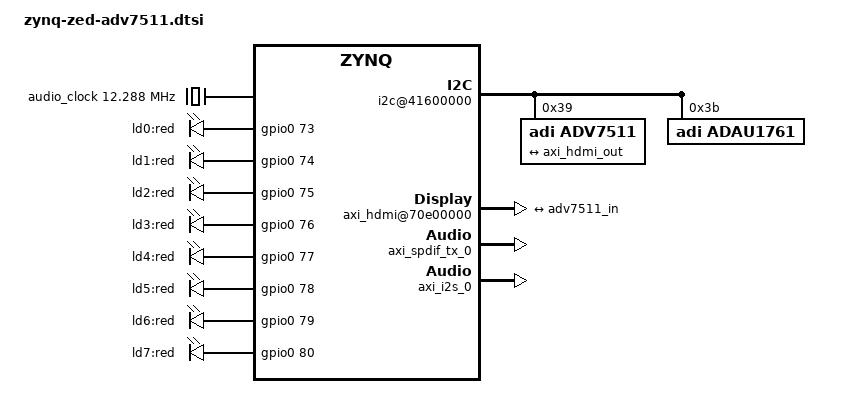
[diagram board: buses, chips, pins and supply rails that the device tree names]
/ {
	fpga_axi: fpga-axi@0 {
		compatible = "simple-bus";
		#address-cells = <0x1>;
		#size-cells = <0x1>;
		ranges;

		i2c@41600000 {
			compatible = "xlnx,axi-iic-1.01.b", "xlnx,xps-iic-2.00.a";
			reg = <0x41600000 0x10000>;
			interrupt-parent = <&intc>;
			interrupts = <0 58 IRQ_TYPE_LEVEL_HIGH>;
			clocks = <&clkc 15>;
			clock-names = "pclk";

			#size-cells = <0>;
			#address-cells = <1>;

			adv7511: adv7511@39 {
				compatible = "adi,adv7511";
				reg = <0x39>, <0x3f>;
				reg-names = "primary", "edid";

				adi,input-depth = <8>;
				adi,input-colorspace = "yuv422";
				adi,input-clock = "1x";
				adi,input-style = <1>;
				adi,input-justification = "right";
				adi,clock-delay = <0>;

				#sound-dai-cells = <0>;

				ports {
					#address-cells = <1>;
					#size-cells = <0>;

					port@0 {
						reg = <0>;
						adv7511_in: endpoint {
							remote-endpoint = <&axi_hdmi_out>;
						};
					};

					port@1 {
						reg = <1>;
					};
				};
			};

			adau1761: adau1761@3b {
				compatible = "adi,adau1761";
				reg = <0x3b>;

				clocks = <&audio_clock>;
				clock-names = "mclk";

				#sound-dai-cells = <0>;
			};
		};

		hdmi_dma: dma@43000000 {
			compatible = "adi,axi-dmac-1.00.a";
			reg = <0x43000000 0x10000>;
			#dma-cells = <1>;
			interrupts = <0 59 IRQ_TYPE_LEVEL_HIGH>;
			clocks = <&clkc 16>;

			adi,channels {
				#size-cells = <0>;
				#address-cells = <1>;

				dma-channel@0 {
					reg = <0>;
					adi,source-bus-width = <64>;
					adi,source-bus-type = <0>;
					adi,destination-bus-width = <64>;
					adi,destination-bus-type = <1>;
				};
			};
		};

		hdmi_clock: axi-clkgen@79000000 {
			compatible = "adi,axi-clkgen-2.00.a";
			reg = <0x79000000 0x10000>;
			#clock-cells = <0>;
			clocks = <&clkc 15>, <&clkc 16>;
			clock-names = "s_axi_aclk", "clkin1";
		};

		axi_hdmi@70e00000 {
			compatible = "adi,axi-hdmi-tx-1.00.a";
			reg = <0x70e00000 0x10000>;
			dmas = <&hdmi_dma 0>;
			dma-names = "video";
			clocks = <&hdmi_clock>;

			port {
				axi_hdmi_out: endpoint {
					remote-endpoint = <&adv7511_in>;
				};
			};
		};

		axi_spdif_tx_0: axi-spdif-tx@75c00000 {
			compatible = "adi,axi-spdif-tx-1.00.a";
			reg = <0x75c00000 0x1000>;
			dmas = <&dmac_s 0>;
			dma-names = "tx";
			clocks = <&clkc 15>, <&audio_clock>;
			clock-names = "axi", "ref";

			#sound-dai-cells = <0>;
		};

		axi_i2s_0: axi-i2s@77600000 {
			compatible = "adi,axi-i2s-1.00.a";
			reg = <0x77600000 0x1000>;
			dmas = <&dmac_s 1 &dmac_s 2>;
			dma-names = "tx", "rx";
			clocks = <&clkc 15>, <&audio_clock>;
			clock-names = "axi", "ref";

			#sound-dai-cells = <0>;
		};

		axi_sysid_0: axi-sysid-0@45000000 {
			compatible = "adi,axi-sysid-1.00.a";
			reg = <0x45000000 0x10000>;
		};
	};

	audio_clock: audio_clock {
		compatible = "fixed-clock";
		#clock-cells = <0>;
		clock-frequency = <12288000>;
	};

	adv7511_hdmi_snd {
		compatible = "simple-audio-card";
		simple-audio-card,name = "HDMI monitor";
		simple-audio-card,widgets =
			"Speaker", "Speaker";
		simple-audio-card,routing =
			"Speaker", "TX";

		simple-audio-card,dai-link@0 {
			format = "spdif";
			cpu {
				sound-dai = <&axi_spdif_tx_0>;
			};
			codec {
				sound-dai = <&adv7511>;
			};
		};
	};

	zed_sound {
		compatible = "simple-audio-card";
		simple-audio-card,name = "ZED ADAU1761";
		simple-audio-card,widgets =
			"Microphone", "Mic In",
			"Headphone", "Headphone Out",
			"Line", "Line In",
			"Line", "Line Out";
		simple-audio-card,routing =
			"Line Out", "LOUT",
			"Line Out", "ROUT",
			"Headphone Out", "LHP",
			"Headphone Out", "RHP",
			"Mic In", "MICBIAS",
			"LINN", "Mic In",
			"RINN", "Mic In",
			"LAUX", "Line In",
			"RAUX", "Line In";

		simple-audio-card,dai-link@0 {
			format = "i2s";
			cpu {
				sound-dai = <&axi_i2s_0>;
			};
			codec {
				sound-dai = <&adau1761>;
			};
		};
	};

	leds {
		compatible = "gpio-leds";
		ld0 {
			label = "ld0:red";
			gpios = <&gpio0 73 0>;
		};

		ld1 {
			label = "ld1:red";
			gpios = <&gpio0 74 0>;
		};

		ld2 {
			label = "ld2:red";
			gpios = <&gpio0 75 0>;
		};

		ld3 {
			label = "ld3:red";
			gpios = <&gpio0 76 0>;
		};

		ld4 {
			label = "ld4:red";
			gpios = <&gpio0 77 0>;
		};

		ld5 {
			label = "ld5:red";
			gpios = <&gpio0 78 0>;
		};

		ld6 {
			label = "ld6:red";
			gpios = <&gpio0 79 0>;
		};

		ld7 {
			label = "ld7:red";
			gpios = <&gpio0 80 0>;
		};
	};
};
